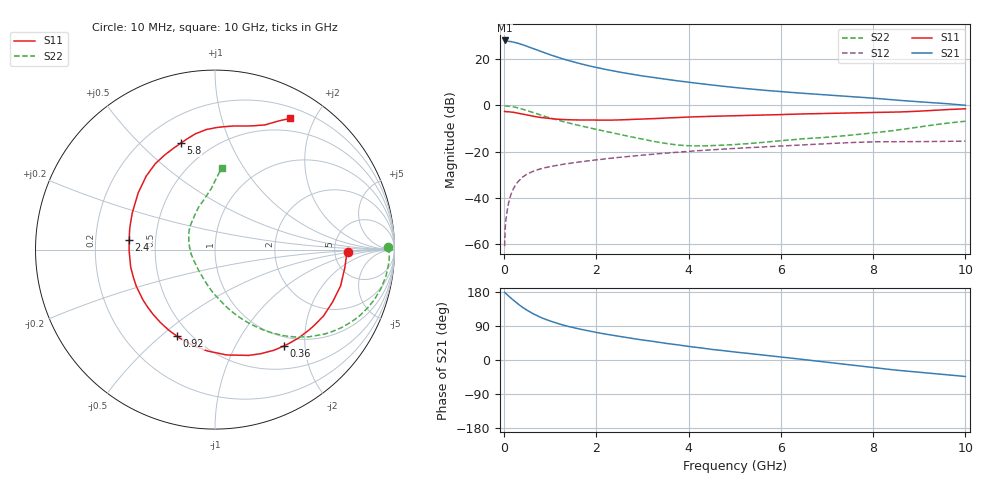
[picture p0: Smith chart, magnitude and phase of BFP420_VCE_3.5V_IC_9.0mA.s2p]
! Infineon Technologies  Discrete & RF Semiconductors
! BFP420
! VCE =  3.5 V,  IC =  9.0 mA
! Common Emitter S-Parameters:  Jan 2016
# GHz  S  MA  R  50
!  f  S11  S21  S12  S22
! GHz  MAG  ANG  MAG  ANG  MAG  ANG  MAG  ANG
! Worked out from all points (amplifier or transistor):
!   233 points, 10 MHz to 10 GHz, reference 50 ohm
!   highest |S21| = 28.1 dB at 10 MHz (marker M1)
!   |S21| within 3 dB of that: start of sweep to 559.1 MHz
!   unconditionally stable (mu >= 1): 2.468 GHz to end of sweep
!   at 200 MHz: K = 0.16, MSG = 31.8 dB, |S12| = -36.1 dB
!   at 1.74 GHz: K = 0.80, MSG = 20.9 dB, |S12| = -24.2 dB
!   at 10 GHz: K = 1.09, MAG = 5.9 dB, |S12| = -15.5 dB
!   S11 on the Smith chart (normalised r, x): 10 MHz: 6.77, -0.47; 360 MHz: 0.84, -1.61; 920 MHz: 0.43, -0.57; 2.4 GHz: 0.35, +0.05; 5.8 GHz: 0.35, +0.67; 10 GHz: 0.33, +1.68
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0.01  0.7436 -1.2  25.35 178.7  0.0009 80.2  0.9649 0.7
0.02  0.7327 -3.2  24.66 177.4  0.002 68.2  0.9722 -1.5
0.1  0.7284 -16.1  24.4 168.5  0.008 78.1  0.9641 -8.8
0.195  0.7091 -30.6  23.47 158.3  0.0152 73.5  0.9329 -16.9
0.3  0.6785 -46.2  22.06 147.8  0.0223 67.6  0.8832 -25.0
0.36  0.6602 -54.5  21.13 142.4  0.0258 64.5  0.8497 -29.1
0.46  0.6299 -67.5  19.53 134.0  0.0309 60.0  0.792 -35.5
0.6  0.5903 -83.8  17.35 123.8  0.0366 54.6  0.7128 -43.0
0.7  0.5665 -94.2  15.9 117.6  0.0399 51.7  0.6606 -47.5
0.8  0.5462 -103.5  14.58 112.1  0.0427 49.3  0.6137 -51.4
0.92  0.5271 -113.5  13.22 106.3  0.0457 47.2  0.5636 -55.4
1.2  0.4995 -133.6  10.66 94.9  0.0516 43.7  0.468 -63.7
1.4  0.4895 -145.2  9.294 88.3  0.0554 42.1  0.4156 -68.7
1.68  0.4812 -158.9  7.837 80.5  0.0604 40.4  0.3563 -74.9
2.4  0.4814 173.5  5.474 64.1  0.0734 36.7  0.2479 -90.9
3.4  0.5244 146.0  3.789 46.0  0.0908 31.1  0.1561 -121.3
4  0.5609 133.1  3.161 35.8  0.1013 27.3  0.1339 -147.7
5.1  0.599 116.9  2.378 19.9  0.1186 19.5  0.1443 171.7
5.8  0.623 107.8  2.058 10.6  0.1288 14.6  0.1645 152.6
6.8  0.6632 96.3  1.734 -3.0  0.145 6.8  0.198 131.6
8.4  0.7101 75.8  1.325 -25.4  0.1634 -9.2  0.2819 103.2
10  0.8432 60.1  1.005 -43.6  0.1685 -20.5  0.4541 85.4
